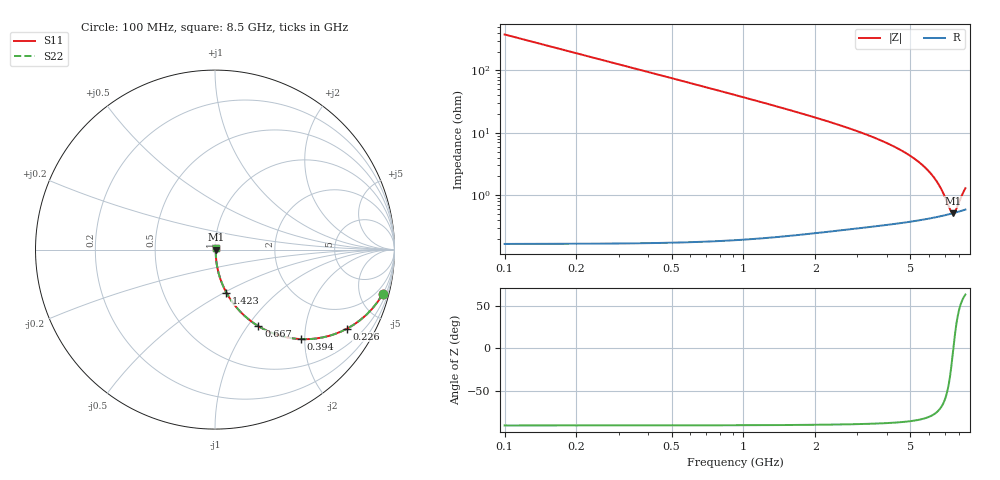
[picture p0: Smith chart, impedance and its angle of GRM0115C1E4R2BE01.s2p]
!Murata Part Number: GRM0115C1E4R2BE01
!These Parameters are Measured in Series Mode Connection
!Data Generated on Mar 30, 2021
!  o--ll--o
!Port1  Port2
!  o------o
!Operation Temp=25[degC], DC Bias Voltage=0[V]
!Freq. Start=100[MHz] Stop=9[GHz] 401[Steps]
# Hz S RI R 50
!Freq.(Hz) S11(Real) S11(Imag) S21(Real) S21(Imag) S12(Real) S12(Imag) S22(Real) S22(Imag)
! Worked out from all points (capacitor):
!   401 points, 100 MHz to 8.5 GHz, reference 50 ohm
!   read as one part in series: C = 4.2 pF near 142 MHz
!   lowest |Z| = 512 mohm at 7.555 GHz (marker M1)
!   series resonance near 7.568 GHz, so ESL is about 110 pH
!   S11 on the Smith chart (normalised r, x): 100 MHz: 1.00, -7.58; 226 MHz: 1.00, -3.35; 394 MHz: 1.00, -1.92; 667 MHz: 1.00, -1.13; 1.423 GHz: 1.00, -0.51; 8.5 GHz: 1.01, +0.02
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1e8  0.9348 -0.2467  0.0652 0.2467  0.0652 0.2467  0.9348 -0.2467
1.42e8  0.8766 -0.3286  0.1234 0.3286  0.1234 0.3286  0.8766 -0.3286
2.26e8  0.737 -0.4397  0.263 0.4397  0.263 0.4397  0.737 -0.4397
3.1e8  0.5981 -0.4896  0.4019 0.4896  0.4019 0.4896  0.5981 -0.4896
3.94e8  0.4791 -0.4987  0.5209 0.4987  0.5209 0.4987  0.4791 -0.4987
5.2e8  0.3449 -0.4741  0.6551 0.4741  0.6551 0.4741  0.3449 -0.4741
6.67e8  0.2416 -0.4265  0.7584 0.4265  0.7584 0.4265  0.2416 -0.4265
9.82e8  0.1268 -0.3302  0.8732 0.3302  0.8732 0.3302  0.1268 -0.3302
1.423e9  0.0634 -0.2395  0.9366 0.2395  0.9366 0.2395  0.0634 -0.2395
1.507e9  0.0567 -0.2267  0.9433 0.2267  0.9433 0.2267  0.0567 -0.2267
2.116e9  0.0286 -0.1593  0.9714 0.1593  0.9714 0.1593  0.0286 -0.1593
2.914e9  0.0148 -0.1082  0.9852 0.1082  0.9852 0.1082  0.0148 -0.1082
4.3e9  0.00689 -0.0587  0.9931 0.0587  0.9931 0.0587  0.00689 -0.0587
5.707e9  0.00483 -0.0282  0.9952 0.0282  0.9952 0.0282  0.00483 -0.0282
6.484e9  0.00466 -0.0153  0.9953 0.0153  0.9953 0.0153  0.00466 -0.0153
6.799e9  0.00472 -0.0105  0.9953 0.0105  0.9953 0.0105  0.00472 -0.0105
7.114e9  0.00484 -0.00608  0.9952 0.00608  0.9952 0.00608  0.00484 -0.00608
7.387e9  0.00498 -0.00237  0.995 0.00237  0.995 0.00237  0.00498 -0.00237
7.555e9  0.00509 -0.000167  0.9949 0.000167  0.9949 0.000167  0.00509 -0.000167
7.744e9  0.00522 0.00225  0.9948 -0.00225  0.9948 -0.00225  0.00522 0.00225
8.206e9  0.00563 0.00792  0.9944 -0.00792  0.9944 -0.00792  0.00563 0.00792
8.5e9  0.00593 0.0114  0.9941 -0.0114  0.9941 -0.0114  0.00593 0.0114
